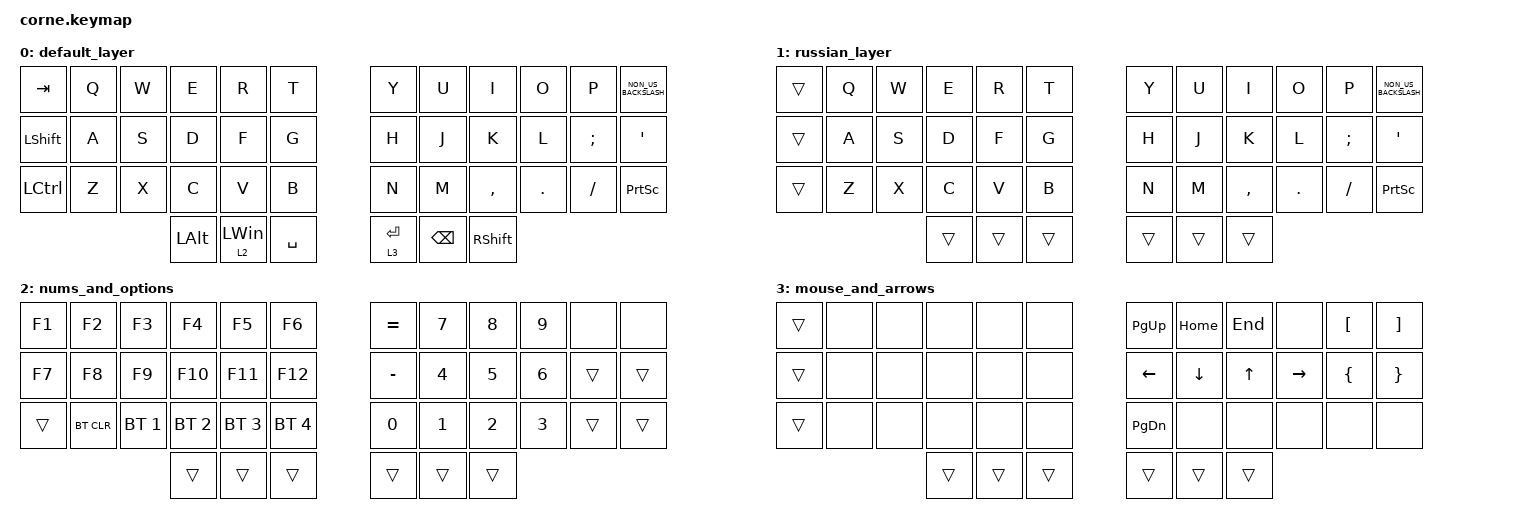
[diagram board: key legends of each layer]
/*
 * Copyright (c) 2020 The ZMK Contributors
 *
 * SPDX-License-Identifier: MIT
 */

#include <behaviors.dtsi>
#include <dt-bindings/zmk/bt.h>
#include <dt-bindings/zmk/keys.h>

/ {
    combos {
        compatible = "zmk,combos";

        combo_esc {
            timeout-ms = <50>;
            key-positions = <0 1>;
            bindings = <&kp ESC>;
        };

        hard_char {
            bindings = <&kp RIGHT_BRACKET>;
            key-positions = <31 36>;
            layers = <1>;
            timeout-ms = <50>;
        };

        yo_char {
            bindings = <&kp GRAVE>;
            key-positions = <5 36>;
            layers = <1>;
            timeout-ms = <50>;
        };

        scha_char {
            bindings = <&kp O>;
            key-positions = <8 36>;
            layers = <1>;
            timeout-ms = <50>;
        };

        to_russian {
            bindings = <&to 1>;
            key-positions = <12 36>;
            layers = <0>;
            timeout-ms = <50>;
        };

        to_english {
            bindings = <&to 0>;
            key-positions = <12 36>;
            layers = <1>;
            timeout-ms = <50>;
        };
    };

    behaviors {
        ss_hs_modmorph: ss_hs_modmorph {
            compatible = "zmk,behavior-mod-morph";
            label = "SS_HS_MODMORPH";
            bindings = <&kp M>, <&kp RIGHT_BRACKET>;

            #binding-cells = <0>;
            mods = <(MOD_LSFT|MOD_RSFT)>;
        };

        kh_hs_tapdance: kh_hs_tapdance {
            compatible = "zmk,behavior-tap-dance";
            label = "KH_HS_TAPDANCE";
            #binding-cells = <0>;
            tapping-term-ms = <200>;
            bindings = <&kp LEFT_BRACKET>, <&kp RIGHT_BRACKET>;
        };

        hrm: hrm {
            compatible = "zmk,behavior-hold-tap";
            #binding-cells = <2>;
            flavor = "tap-preferred";
            tapping-term-ms = <200>;
            quick-tap-ms = <200>;
            require-prior-idle-ms = <125>;
            bindings = <&kp>, <&kp>;
        };
    };

    keymap {
        compatible = "zmk,keymap";

        default_layer {
            // -----------------------------------------------------------------------------------------
            // |  TAB |  Q  |  W  |  E  |  R  |  T  |   |  Y  |  U   |  I  |  O  |  P  | BKSP |
            // | CTRL |  A  |  S  |  D  |  F  |  G  |   |  H  |  J   |  K  |  L  |  ;  |  '   |
            // | SHFT |  Z  |  X  |  C  |  V  |  B  |   |  N  |  M   |  ,  |  .  |  /  | ESC  |
            //                    | GUI | LWR | SPC |   | ENT | RSE  | ALT |

            bindings = <
&kp TAB           &kp Q  &kp W  &kp E         &kp R           &kp T        &kp Y        &kp U          &kp I            &kp O    &kp P      &kp NON_US_BACKSLASH
&kp LEFT_SHIFT    &kp A  &kp S  &kp D         &kp F           &kp G        &kp H        &kp J          &kp K            &kp L    &kp SEMI   &kp SQT
&kp LEFT_CONTROL  &kp Z  &kp X  &kp C         &kp V           &kp B        &kp N        &kp M          &kp COMMA        &kp DOT  &kp SLASH  &kp PRINTSCREEN
                                &kp LEFT_ALT  &lt 2 LEFT_WIN  &kp SPACE    &lt 3 ENTER  &kp BACKSPACE  &kp RIGHT_SHIFT
            >;
        };

        russian_layer {
            bindings = <
&trans  &kp Q  &kp W  &kp E   &kp R   &kp T     &kp Y   &kp U   &kp I      &kp O    &kp P      &kp NON_US_BACKSLASH
&trans  &kp A  &kp S  &kp D   &kp F   &kp G     &kp H   &kp J   &kp K      &kp L    &kp SEMI   &kp SQT
&trans  &kp Z  &kp X  &kp C   &kp V   &kp B     &kp N   &kp M   &kp COMMA  &kp DOT  &kp SLASH  &kp PRINTSCREEN
                      &trans  &trans  &trans    &trans  &trans  &trans
            >;
        };

        nums_and_options {
            // -----------------------------------------------------------------------------------------
            // |  TAB |  1  |  2  |  3  |  4  |  5  |   |  6  |  7  |  8  |  9  |  0  | BKSP |
            // | BTCLR| BT1 | BT2 | BT3 | BT4 | BT5 |   | LFT | DWN |  UP | RGT |     |      |
            // | SHFT |     |     |     |     |     |   |     |     |     |     |     |      |
            //                    | GUI |     | SPC |   | ENT |     | ALT |

            bindings = <
&kp F1  &kp F2      &kp F3        &kp F4        &kp F5        &kp F6          &kp EQUAL     &kp NUMBER_7  &kp NUMBER_8  &kp N9        &none   &none
&kp F7  &kp F8      &kp F9        &kp F10       &kp F11       &kp F12         &kp MINUS     &kp NUMBER_4  &kp NUMBER_5  &kp NUMBER_6  &trans  &trans
&trans  &bt BT_CLR  &bt BT_SEL 1  &bt BT_SEL 2  &bt BT_SEL 3  &bt BT_SEL 4    &kp NUMBER_0  &kp NUMBER_1  &kp NUMBER_2  &kp NUMBER_3  &trans  &trans
                                  &trans        &trans        &trans          &trans        &trans        &trans
            >;
        };

        mouse_and_arrows {
            // -----------------------------------------------------------------------------------------
            // |  TAB |  !  |  @  |  #  |  $  |  %  |   |  ^  |  &  |  *  |  (  |  )  | BKSP |
            // | CTRL |     |     |     |     |     |   |  -  |  =  |  [  |  ]  |  \  |  `   |
            // | SHFT |     |     |     |     |     |   |  _  |  +  |  {  |  }  | "|" |  ~   |
            //                    | GUI |     | SPC |   | ENT |     | ALT |

            bindings = <
&trans  &none  &none  &none   &none   &none     &kp PAGE_UP     &kp HOME        &kp END       &none            &kp LEFT_BRACKET  &kp RIGHT_BRACKET
&trans  &none  &none  &none   &none   &none     &kp LEFT_ARROW  &kp DOWN_ARROW  &kp UP_ARROW  &kp RIGHT_ARROW  &kp LEFT_BRACE    &kp RIGHT_BRACE
&trans  &none  &none  &none   &none   &none     &kp PAGE_DOWN   &none           &none         &none            &none             &none
                      &trans  &trans  &trans    &trans          &trans          &trans
            >;
        };
    };
};
